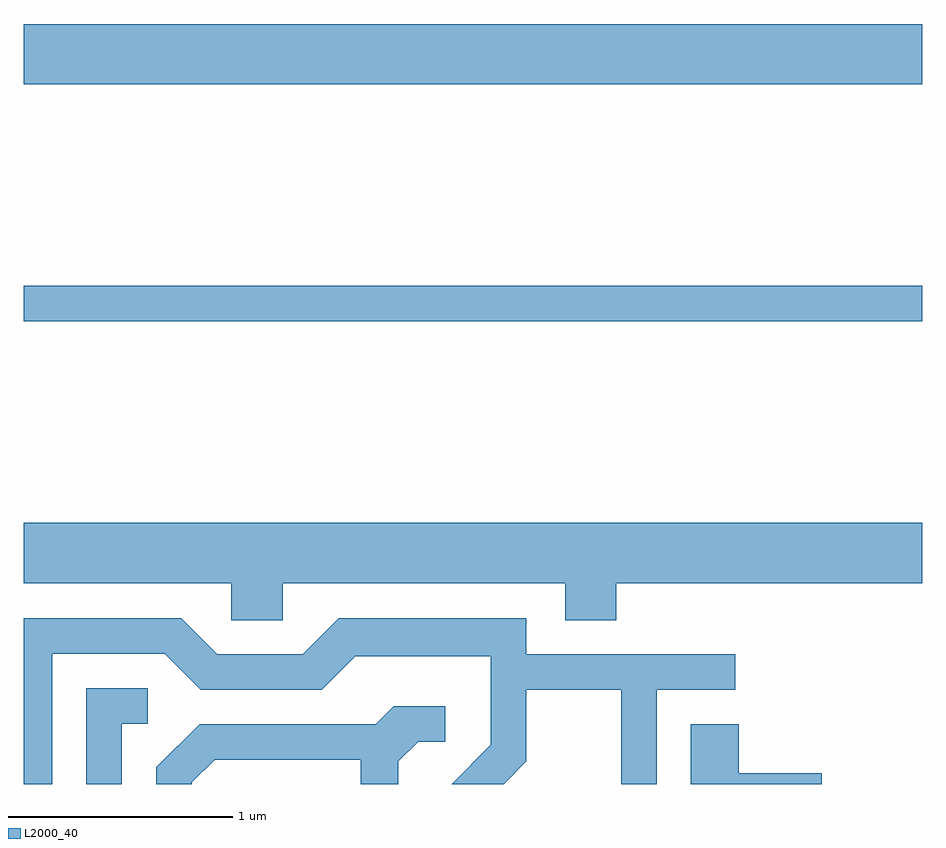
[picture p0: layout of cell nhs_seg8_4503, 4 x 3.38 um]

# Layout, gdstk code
import gdstk
lib = gdstk.Library(unit=1e-6, precision=1e-09)
def R(c, l, rs):  # rectangles x0, y0, x1, y1
    for r in rs: c.add(gdstk.rectangle(r[:2], r[2:], *l))
def P(c, l, *ps):  # polygons
    for p in ps: c.add(gdstk.Polygon(p, *l))
L2000_40 = (2000, 40)

nhs_seg8_4503 = lib.new_cell('nhs_seg8_4503')
R(nhs_seg8_4503, L2000_40, [(319.611,1906.401,323.611,1906.559), (319.611,1907.456,323.611,1907.724)])
P(nhs_seg8_4503, L2000_40, [(320.764,1905.236),(322.021,1905.236),(322.021,1905.071),(322.249,1905.071),(322.249,1905.236),(323.611,1905.236),(323.611,1905.504),(319.611,1905.504),(319.611,1905.236),(320.536,1905.236),(320.536,1905.071),(320.764,1905.071)],
  [(319.739,1904.921),(320.239,1904.921),(320.399,1904.761),(320.937,1904.761),(321.087,1904.911),(321.691,1904.911),(321.691,1904.517),(321.516,1904.342),(321.747,1904.342),(321.849,1904.444),(321.849,1904.761),(322.271,1904.761),(322.271,1904.342),(322.429,1904.342),(322.429,1904.761),(322.778,1904.761),(322.778,1904.919),(321.849,1904.919),(321.849,1905.079),(321.014,1905.079),(320.854,1904.919),(320.472,1904.919),(320.312,1905.079),(319.611,1905.079),(319.611,1904.342),(319.739,1904.342)],
  [(320.049,1904.611),(320.163,1904.611),(320.163,1904.769),(319.891,1904.769),(319.891,1904.342),(320.049,1904.342)],
  [(320.359,1904.349),(320.462,1904.451),(321.111,1904.451),(321.111,1904.342),(321.279,1904.342),(321.279,1904.444),(321.367,1904.531),(321.488,1904.531),(321.488,1904.689),(321.259,1904.689),(321.179,1904.609),(320.394,1904.609),(320.201,1904.417),(320.201,1904.342),(320.359,1904.342)],
  [(323.164,1904.389),(322.794,1904.389),(322.794,1904.609),(322.581,1904.609),(322.581,1904.342),(323.164,1904.342)])

lib.write_gds('nhs_seg8_4503.gds')
